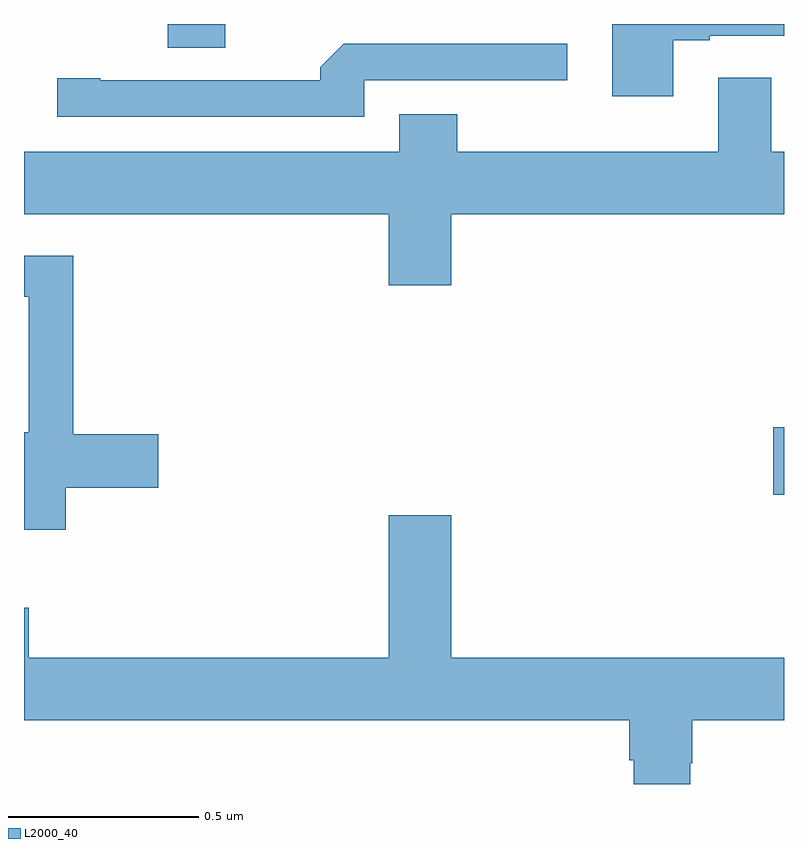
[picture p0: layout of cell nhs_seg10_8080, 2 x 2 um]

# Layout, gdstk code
import gdstk
lib = gdstk.Library(unit=1e-6, precision=1e-09)
def R(c, l, rs):  # rectangles x0, y0, x1, y1
    for r in rs: c.add(gdstk.rectangle(r[:2], r[2:], *l))
def P(c, l, *ps):  # polygons
    for p in ps: c.add(gdstk.Polygon(p, *l))
L2000_40 = (2000, 40)

nhs_seg10_8080 = lib.new_cell('nhs_seg10_8080')
R(nhs_seg10_8080, L2000_40, [(213.972,1282.261,214,1282.439), (212.378,1283.437,212.53,1283.5)])
P(nhs_seg10_8080, L2000_40, [(213.709,1283.457),(213.805,1283.457),(213.805,1283.469),(214,1283.469),(214,1283.5),(213.548,1283.5),(213.548,1283.31),(213.709,1283.31)],
  [(212.895,1283.352),(213.43,1283.352),(213.43,1283.448),(212.841,1283.448),(212.78,1283.386),(212.78,1283.352),(212.2,1283.352),(212.2,1283.357),(212.088,1283.357),(212.088,1283.256),(212.895,1283.256)],
  [(213.124,1283),(214,1283),(214,1283.164),(213.967,1283.164),(213.967,1283.359),(213.827,1283.359),(213.827,1283.164),(213.14,1283.164),(213.14,1283.263),(212.987,1283.263),(212.987,1283.164),(212,1283.164),(212,1283),(212.96,1283),(212.96,1282.812),(213.124,1282.812)],
  [(212.11,1282.279),(212.353,1282.279),(212.353,1282.421),(212.129,1282.421),(212.129,1282.89),(212,1282.89),(212,1282.782),(212.012,1282.782),(212.012,1282.426),(212,1282.426),(212,1282.169),(212.11,1282.169)],
  [(213.753,1281.555),(213.758,1281.555),(213.758,1281.668),(214,1281.668),(214,1281.832),(213.124,1281.832),(213.124,1282.207),(212.96,1282.207),(212.96,1281.832),(212.012,1281.832),(212.012,1281.964),(212,1281.964),(212,1281.668),(213.593,1281.668),(213.593,1281.562),(213.605,1281.562),(213.605,1281.5),(213.753,1281.5)])

lib.write_gds('nhs_seg10_8080.gds')
